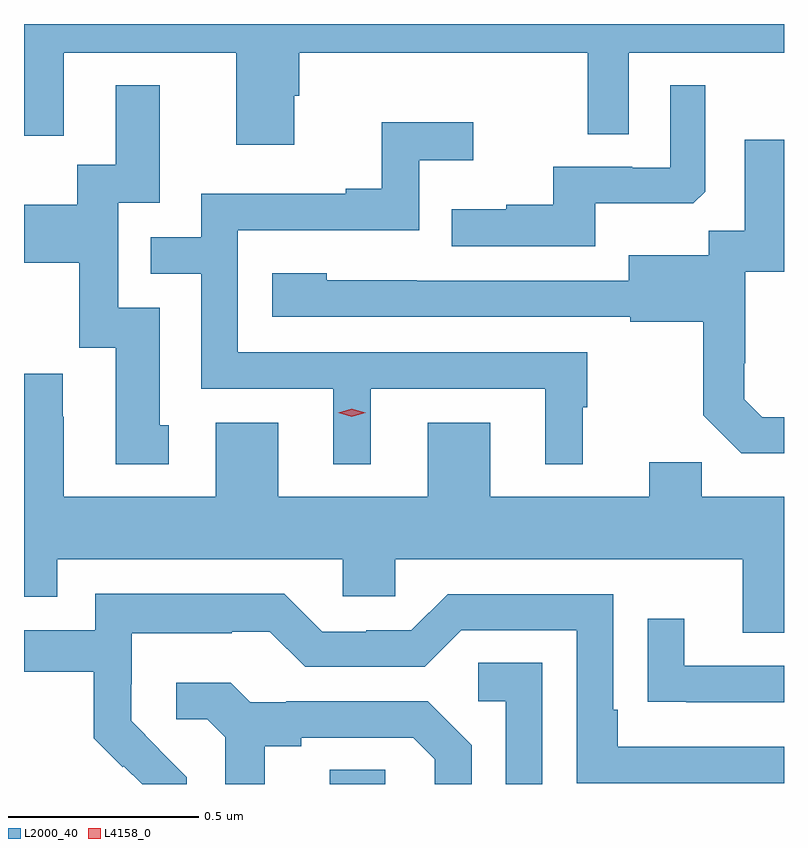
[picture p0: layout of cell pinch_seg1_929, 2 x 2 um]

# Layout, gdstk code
import gdstk
lib = gdstk.Library(unit=1e-6, precision=1e-09)
def R(c, l, rs):  # rectangles x0, y0, x1, y1
    for r in rs: c.add(gdstk.rectangle(r[:2], r[2:], *l))
def P(c, l, *ps):  # polygons
    for p in ps: c.add(gdstk.Polygon(p, *l))
L2000_40 = (2000, 40)
L4158_0 = (4158, 0)

pinch_seg1_929 = lib.new_cell('pinch_seg1_929')
R(pinch_seg1_929, L2000_40, [(625.865,540.484,626.01,540.521)])
P(pinch_seg1_929, L2000_40, [(625.771,542.295),(625.784,542.295),(625.784,542.408),(626.544,542.408),(626.544,542.194),(626.652,542.194),(626.652,542.408),(627.06,542.408),(627.06,542.484),(625.06,542.484),(625.06,542.19),(625.165,542.19),(625.165,542.408),(625.619,542.408),(625.619,542.166),(625.771,542.166)],
  [(626.563,542.012),(626.821,542.012),(626.853,542.043),(626.853,542.323),(626.76,542.323),(626.76,542.106),(626.66,542.106),(626.66,542.109),(626.453,542.109),(626.453,542.008),(626.329,542.008),(626.329,541.996),(626.185,541.996),(626.185,541.899),(626.563,541.899)],
  [(625.441,541.428),(625.417,541.428),(625.417,541.737),(625.308,541.737),(625.308,542.013),(625.417,542.013),(625.417,542.323),(625.301,542.323),(625.301,542.114),(625.2,542.114),(625.2,542.008),(625.06,542.008),(625.06,541.856),(625.205,541.856),(625.205,541.632),(625.301,541.632),(625.301,541.326),(625.441,541.326)],
  [(625.972,541.524),(626.432,541.524),(626.432,541.325),(626.53,541.325),(626.53,541.476),(626.542,541.476),(626.542,541.62),(625.623,541.62),(625.623,541.941),(626.1,541.941),(626.1,542.126),(626.242,542.126),(626.242,542.225),(626.002,542.225),(626.002,542.05),(625.907,542.05),(625.907,542.037),(625.527,542.037),(625.527,541.923),(625.393,541.923),(625.393,541.827),(625.527,541.827),(625.527,541.524),(625.874,541.524),(625.874,541.325),(625.972,541.325)],
  [(627.06,541.449),(627.003,541.449),(626.956,541.496),(626.956,541.591),(626.958,541.591),(626.958,541.832),(627.06,541.832),(627.06,542.179),(626.957,542.179),(626.957,541.94),(626.862,541.94),(626.862,541.876),(626.651,541.876),(626.651,541.809),(626.093,541.809),(626.093,541.81),(625.857,541.81),(625.857,541.828),(625.713,541.828),(625.713,541.713),(626.655,541.713),(626.655,541.701),(626.847,541.701),(626.847,541.455),(626.947,541.355),(627.06,541.355)],
  [(627.06,541.24),(626.843,541.24),(626.843,541.331),(626.705,541.331),(626.705,541.24),(626.287,541.24),(626.287,541.435),(626.123,541.435),(626.123,541.24),(625.729,541.24),(625.729,541.435),(625.565,541.435),(625.565,541.24),(625.165,541.24),(625.165,541.451),(625.162,541.451),(625.162,541.564),(625.06,541.564),(625.06,540.977),(625.147,540.977),(625.147,541.076),(625.899,541.076),(625.899,540.978),(626.037,540.978),(626.037,541.076),(626.951,541.076),(626.951,540.882),(627.06,540.882)],
  [(625.488,540.502),(625.415,540.575),(625.416,540.576),(625.342,540.65),(625.342,540.747),(625.344,540.747),(625.344,540.881),(625.607,540.881),(625.607,540.885),(625.707,540.885),(625.8,540.792),(626.115,540.792),(626.211,540.888),(626.514,540.888),(626.514,540.486),(627.06,540.486),(627.06,540.582),(626.623,540.582),(626.623,540.679),(626.61,540.679),(626.61,540.984),(626.175,540.984),(626.079,540.888),(625.961,540.888),(625.961,540.885),(625.845,540.885),(625.745,540.985),(625.248,540.985),(625.248,540.888),(625.06,540.888),(625.06,540.78),(625.243,540.78),(625.243,540.605),(625.32,540.528),(625.323,540.531),(625.371,540.484),(625.488,540.484)],
  [(627.06,540.795),(626.797,540.795),(626.797,540.919),(626.701,540.919),(626.701,540.7),(626.803,540.7),(626.803,540.699),(627.06,540.699)],
  [(626.424,540.803),(626.256,540.803),(626.256,540.702),(626.328,540.702),(626.328,540.484),(626.424,540.484)],
  [(625.693,540.584),(625.789,540.584),(625.789,540.606),(626.084,540.606),(626.141,540.549),(626.141,540.484),(626.238,540.484),(626.238,540.586),(626.122,540.702),(625.75,540.702),(625.75,540.699),(625.656,540.699),(625.604,540.751),(625.461,540.751),(625.461,540.654),(625.542,540.654),(625.589,540.607),(625.589,540.484),(625.693,540.484)])
P(pinch_seg1_929, L4158_0, [(625.923,541.451),(625.887,541.461),(625.887,541.461),(625.887,541.461),(625.923,541.471),(625.959,541.461),(625.959,541.461),(625.959,541.461)])

lib.write_gds('pinch_seg1_929.gds')
